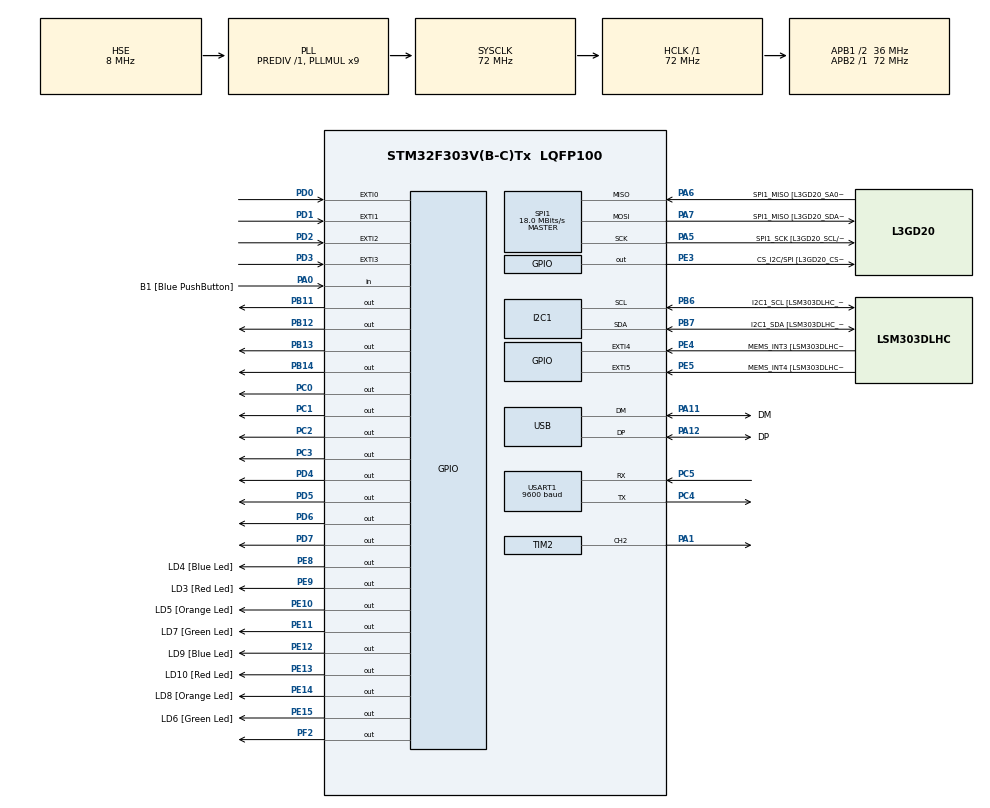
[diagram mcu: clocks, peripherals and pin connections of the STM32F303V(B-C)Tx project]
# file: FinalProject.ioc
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I2C1.Timing-I2C=0x2000090E
Mcu.Family=STM32F3
Mcu.Name=STM32F303V(B-C)Tx
Mcu.Package=LQFP100
NVIC.EXTI0_IRQn=true\:2\:0\:true\:false\:true\:true\:true\:true
NVIC.EXTI1_IRQn=true\:2\:0\:true\:false\:true\:true\:true\:true
NVIC.EXTI2_TSC_IRQn=true\:2\:0\:true\:false\:true\:true\:true\:true
NVIC.EXTI3_IRQn=true\:2\:0\:true\:false\:true\:true\:true\:true
NVIC.PriorityGroup=NVIC_PRIORITYGROUP_2
NVIC.TIM6_DAC_IRQn=true\:0\:0\:true\:false\:true\:true\:true\:true
NVIC.TIM7_IRQn=true\:0\:0\:false\:false\:true\:true\:true\:true
NVIC.USART1_IRQn=true\:0\:0\:false\:false\:true\:true\:true\:true
PA0.GPIO_Label=B1 [Blue PushButton]
PA0.Signal=GPIO_Input
PA1.Signal=S_TIM2_CH2
PA11.GPIO_Label=DM
PA11.Mode=Device
PA11.Signal=USB_DM
PA12.GPIO_Label=DP
PA12.Mode=Device
PA12.Signal=USB_DP
PA13.GPIO_Label=SWDIO
PA13.Mode=Serial_Wire
PA13.Signal=SYS_JTMS-SWDIO
PA14.GPIO_Label=SWCLK
PA14.Mode=Serial_Wire
PA14.Signal=SYS_JTCK-SWCLK
PA5.GPIO_Label=SPI1_SCK [L3GD20_SCL/SPC]
PA5.Mode=Full_Duplex_Master
PA5.Signal=SPI1_SCK
PA6.GPIO_Label=SPI1_MISO [L3GD20_SA0/SDO]
PA6.Mode=Full_Duplex_Master
PA6.Signal=SPI1_MISO
PA7.GPIO_Label=SPI1_MISO [L3GD20_SDA/SDI/SDO]
PA7.Mode=Full_Duplex_Master
PA7.Signal=SPI1_MOSI
PB11.Signal=GPIO_Output
PB12.Signal=GPIO_Output
PB13.Signal=GPIO_Output
PB14.Signal=GPIO_Output
PB3.GPIO_Label=SWO
PB3.Signal=SYS_JTDO-TRACESWO
PB6.GPIO_Label=I2C1_SCL [LSM303DLHC_SCL]
PB6.GPIO_Pu=GPIO_PULLUP
PB6.Mode=I2C
PB6.Signal=I2C1_SCL
PB7.GPIO_Label=I2C1_SDA [LSM303DLHC_SDA]
PB7.GPIO_Pu=GPIO_PULLUP
PB7.Mode=I2C
PB7.Signal=I2C1_SDA
PC0.Signal=GPIO_Output
PC1.Signal=GPIO_Output
PC14-OSC32_IN.GPIO_Label=OSC32_IN
PC14-OSC32_IN.Signal=RCC_OSC32_IN
PC15-OSC32_OUT.GPIO_Label=OSC32_OUT
PC15-OSC32_OUT.Signal=RCC_OSC32_OUT
PC2.Signal=GPIO_Output
PC3.Signal=GPIO_Output
PC4.Mode=Asynchronous
PC4.Signal=USART1_TX
PC5.Mode=Asynchronous
PC5.Signal=USART1_RX
PD0.GPIO_PuPd=GPIO_PULLDOWN
PD0.Signal=GPXTI0
PD1.GPIO_PuPd=GPIO_PULLDOWN
PD1.Signal=GPXTI1
PD2.GPIO_PuPd=GPIO_PULLDOWN
PD2.Signal=GPXTI2
PD3.GPIO_PuPd=GPIO_PULLDOWN
PD3.Signal=GPXTI3
PD4.Signal=GPIO_Output
PD5.Signal=GPIO_Output
PD6.Signal=GPIO_Output
PD7.Signal=GPIO_Output
PE10.GPIO_Label=LD5 [Orange Led]
PE10.Signal=GPIO_Output
PE11.GPIO_Label=LD7 [Green Led]
PE11.Signal=GPIO_Output
PE12.GPIO_Label=LD9 [Blue Led]
PE12.Signal=GPIO_Output
PE13.GPIO_Label=LD10 [Red Led]
PE13.Signal=GPIO_Output
PE14.GPIO_Label=LD8 [Orange Led]
PE14.Signal=GPIO_Output
PE15.GPIO_Label=LD6 [Green Led]
PE15.Signal=GPIO_Output
PE3.GPIO_Label=CS_I2C/SPI [L3GD20_CS_I2C/SPI]
PE3.Signal=GPIO_Output
PE4.GPIO_Label=MEMS_INT3 [LSM303DLHC_INT1]
PE4.GPIO_ModeDefaultEXTI=GPIO_MODE_EVT_RISING
PE4.Signal=GPXTI4
PE5.GPIO_Label=MEMS_INT4 [LSM303DLHC_INT2]
PE5.GPIO_ModeDefaultEXTI=GPIO_MODE_EVT_RISING
PE5.Signal=GPXTI5
PE8.GPIO_Label=LD4 [Blue Led]
PE8.Signal=GPIO_Output
PE9.GPIO_Label=LD3 [Red Led]
PE9.Signal=GPIO_Output
PF0-OSC_IN.GPIO_Label=OSC_IN
PF0-OSC_IN.Mode=HSE-External-Clock-Source
PF0-OSC_IN.Signal=RCC_OSC_IN
PF1-OSC_OUT.GPIO_Label=OSC_OUT
PF1-OSC_OUT.Signal=RCC_OSC_OUT
PF2.Signal=GPIO_Output
ProjectManager.HeapSize=0x200
ProjectManager.StackSize=0x400
ProjectManager.TargetToolchain=STM32CubeIDE
RCC.AHBFreq_Value=72000000
RCC.APB1CLKDivider=RCC_HCLK_DIV2
RCC.APB1Freq_Value=36000000
RCC.APB1TimFreq_Value=72000000
RCC.APB2Freq_Value=72000000
RCC.APB2TimFreq_Value=72000000
RCC.CortexFreq_Value=72000000
RCC.HCLKFreq_Value=72000000
RCC.HSE_VALUE=8000000
RCC.HSI_VALUE=8000000
RCC.LSE_VALUE=32768
RCC.PLLMUL=RCC_PLL_MUL9
RCC.PRESCALERUSB=RCC_USBCLKSOURCE_PLL_DIV1_5
RCC.SYSCLKFreq_VALUE=72000000
RCC.SYSCLKSourceVirtual=RCC_SYSCLKSOURCE_PLLCLK
RCC.USBFreq_Value=48000000
SH.S_TIM2_CH2.0=TIM2_CH2,PWM Generation2 CH2
SPI1.BaudRatePrescaler=SPI_BAUDRATEPRESCALER_4
SPI1.BaudRatePrescaler-Full_Duplex_Master=SPI_BAUDRATEPRESCALER_2
SPI1.CalculateBaudRate=18.0 MBits/s
SPI1.CalculateBaudRate-Full_Duplex_Master=24.0 MBits/s
SPI1.Direction=SPI_DIRECTION_2LINES
SPI1.Mode=SPI_MODE_MASTER
SPI1.Mode-Full_Duplex_Master=SPI_MODE_MASTER
SPI1.VirtualType=VM_MASTER
TIM2.Channel-PWM\ Generation2\ CH2=TIM_CHANNEL_2
TIM6.Period=5000-1
TIM6.Prescaler=48-1
TIM7.Period=10000-1
TIM7.Prescaler=72-1
USART1.BaudRate=9600
USART1.VirtualMode-Asynchronous=VM_ASYNC
VP_RTC_VS_RTC_Activate.Mode=RTC_Enabled
VP_TIM2_VS_ClockSourceINT.Mode=Internal
VP_TIM6_VS_ClockSourceINT.Mode=Enable_Timer
VP_TIM7_VS_ClockSourceINT.Mode=Enable_Timer
board=STM32F3DISCOVERY

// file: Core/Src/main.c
/* USER CODE BEGIN Header */
/**
  ******************************************************************************
  * @file           : main.c
  * @brief          : Main program body
  ******************************************************************************
  * @attention
  *
  * Copyright (c) 2024 STMicroelectronics.
  * All rights reserved.
  *
  * This software is licensed under terms that can be found in the LICENSE file
  * in the root directory of this software component.
  * If no LICENSE file comes with this software, it is provided AS-IS.
  *
  ******************************************************************************
  */
/* USER CODE END Header */
#include "main.h"

/* USER CODE BEGIN Includes */
#include "LiquidCrystal.h"
#include <string.h>
#include <ctype.h>
#include <stdlib.h>
/* USER CODE END Includes */

/* USER CODE BEGIN PTD */
typedef struct
{
    uint16_t frequency;
    uint16_t duration;
} Tone;

#define NOTE_B0  31
#define NOTE_C1  33
#define NOTE_CS1 35
#define NOTE_D1  37
#define NOTE_DS1 39
#define NOTE_E1  41
#define NOTE_F1  44
#define NOTE_FS1 46
#define NOTE_G1  49
#define NOTE_GS1 52
#define NOTE_A1  55
#define NOTE_AS1 58
#define NOTE_B1  62
#define NOTE_C2  65
#define NOTE_CS2 69
#define NOTE_D2  73
#define NOTE_DS2 78
#define NOTE_E2  82
#define NOTE_F2  87
#define NOTE_FS2 93
#define NOTE_G2  98
#define NOTE_GS2 104
#define NOTE_A2  110
#define NOTE_AS2 117
#define NOTE_B2  123
#define NOTE_C3  131
#define NOTE_CS3 139
#define NOTE_D3  147
#define NOTE_DS3 156
#define NOTE_E3  165
#define NOTE_F3  175
#define NOTE_FS3 185
#define NOTE_G3  196
#define NOTE_GS3 208
#define NOTE_A3  220
#define NOTE_AS3 233
#define NOTE_B3  247
#define NOTE_C4  262
#define NOTE_CS4 277
#define NOTE_D4  294
#define NOTE_DS4 311
#define NOTE_E4  330
#define NOTE_F4  349
#define NOTE_FS4 370
#define NOTE_G4  392
#define NOTE_GS4 415
#define NOTE_A4  440
#define NOTE_AS4 466
#define NOTE_B4  494
#define NOTE_C5  523
#define NOTE_CS5 554
#define NOTE_D5  587
#define NOTE_DS5 622
#define NOTE_E5  659
#define NOTE_F5  698
#define NOTE_FS5 740
#define NOTE_G5  784
#define NOTE_GS5 831
#define NOTE_A5  880
#define NOTE_AS5 932
#define NOTE_B5  988
#define NOTE_C6  1047
#define NOTE_CS6 1109
#define NOTE_D6  1175
#define NOTE_DS6 1245
#define NOTE_E6  1319
#define NOTE_F6  1397
#define NOTE_FS6 1480
#define NOTE_G6  1568
#define NOTE_GS6 1661
#define NOTE_A6  1760
#define NOTE_AS6 1865
#define NOTE_B6  1976
#define NOTE_C7  2093
#define NOTE_CS7 2217
#define NOTE_D7  2349
#define NOTE_DS7 2489
#define NOTE_E7  2637
#define NOTE_F7  2794
#define NOTE_FS7 2960
#define NOTE_G7  3136
#define NOTE_GS7 3322
#define NOTE_A7  3520
#define NOTE_AS7 3729
#define NOTE_B7  3951
#define NOTE_C8  4186
#define NOTE_CS8 4435
#define NOTE_D8  4699
#define NOTE_DS8 4978
#define REST      0

const Tone pink_panther[] = {
	{REST, 900}, {REST, 450}, {REST, 225}, {NOTE_DS4, 225},
	{NOTE_E4, 675}, {REST, 225}, {NOTE_FS4, 225}, {NOTE_G4, 675},
	{REST, 225}, {NOTE_DS4, 225}, {NOTE_E4, 337}, {NOTE_FS4, 225},
	{NOTE_G4, 337}, {NOTE_C5, 225}, {NOTE_B4, 337}, {NOTE_B4, 225},
	{NOTE_G4, 337}, {NOTE_B4, 225}, {NOTE_AS4, 900}, {NOTE_A4, 168},
	{NOTE_G4, 168}, {NOTE_E4, 168}, {NOTE_D4, 168}, {NOTE_E4, 900},
	{REST, 450}, {REST, 225}, {NOTE_DS4, 450}, {NOTE_E4, 675},
	{REST, 225}, {NOTE_FS4, 225}, {NOTE_G4, 675}, {REST, 225},
	{NOTE_DS4, 225}, {NOTE_E4, 337}, {NOTE_FS4, 225}, {NOTE_G4, 337},
	{NOTE_C5, 225}, {NOTE_B4, 337}, {NOTE_G4, 225}, {NOTE_B4, 337},
	{NOTE_E5, 225}, {NOTE_DS5, 1800}, {NOTE_D5, 900}, {REST, 450},
	{REST, 225}, {NOTE_DS4, 225}, {NOTE_E4, 750}, {REST, 225},
	{NOTE_FS4, 225}, {NOTE_G4, 750}, {REST, 225}, {NOTE_DS4, 225},
	{NOTE_E4, 337}, {NOTE_FS4, 225}, {NOTE_G4, 337}, {NOTE_C5, 225},
	{NOTE_B4, 337}, {NOTE_E4, 225}, {NOTE_G4, 337}, {NOTE_B4, 225},
	{NOTE_AS4, 900}, {NOTE_A4, 168}, {NOTE_G4, 168}, {NOTE_E4, 168},
	{NOTE_D4, 168}, {NOTE_E4, 675}, {REST, 450}, {REST, 450},
	{NOTE_E5, 337}, {NOTE_D5, 225}, {NOTE_B4, 337}, {NOTE_A4, 225},
	{NOTE_G4, 337}, {NOTE_E4, 337}, {NOTE_AS4, 112}, {NOTE_A4, 337},
	{NOTE_AS4, 112}, {NOTE_A4, 337}, {NOTE_AS4, 112}, {NOTE_A4, 337},
	{NOTE_AS4, 112}, {NOTE_A4, 337}, {NOTE_G4, 168}, {NOTE_E4, 168},
	{NOTE_D4, 168}, {NOTE_E4, 112}, {NOTE_E4, 112}, {NOTE_E4, 900},
	{0, 1000},{0,0}
};
typedef unsigned char byte;
byte snake_right[] = {
  0x00,
  0x00,
  0x1F,
  0x1D,
  0x1F,
  0x1F,
  0x00,
  0x00
};

byte snake_left[] = {
  0x00,
  0x00,
  0x1F,
  0x17,
  0x1F,
  0x1F,
  0x00,
  0x00
};

byte snake_top[] = {
  0x00,
  0x00,
  0x1F,
  0x1B,
  0x1F,
  0x1F,
  0x00,
  0x00
};

byte snake_down[] = {
  0x00,
  0x00,
  0x1F,
  0x1F,
  0x1B,
  0x1F,
  0x00,
  0x00
};

byte snake_body[] = {
  0x00,
  0x00,
  0x1F,
  0x1F,
  0x1F,
  0x1F,
  0x00,
  0x00
};
byte apple[] = {
  0x03,
  0x04,
  0x1F,
  0x1F,
  0x1F,
  0x1F,
  0x00,
  0x00
};
byte med[] = {
  0x1F,
  0x15,
  0x15,
  0x1F,
  0x1F,
  0x15,
  0x15,
  0x1F
};
byte box[] = {
  0x10,
  0x1A,
  0x0C,
  0x1F,
  0x1B,
  0x11,
  0x1B,
  0x1F
};

/* USER CODE END PTD */

I2C_HandleTypeDef hi2c1;

RTC_HandleTypeDef hrtc;

SPI_HandleTypeDef hspi1;

TIM_HandleTypeDef htim2;
TIM_HandleTypeDef htim6;
TIM_HandleTypeDef htim7;

UART_HandleTypeDef huart1;

PCD_HandleTypeDef hpcd_USB_FS;

void SystemClock_Config(void);
static void MX_GPIO_Init(void);
static void MX_I2C1_Init(void);
static void MX_SPI1_Init(void);
static void MX_USB_PCD_Init(void);
static void MX_TIM6_Init(void);
static void MX_RTC_Init(void);
static void MX_TIM7_Init(void);
static void MX_TIM2_Init(void);
static void MX_USART1_UART_Init(void);

/* USER CODE BEGIN 0 */
GPIO_TypeDef *const Row_ports[] = { GPIOD, GPIOD, GPIOD, GPIOD };
const uint16_t Row_pins[] = { GPIO_PIN_3, GPIO_PIN_2, GPIO_PIN_1, GPIO_PIN_0 };
GPIO_TypeDef *const Column_ports[] = { GPIOD, GPIOD, GPIOD, GPIOD };
const uint16_t Column_pins[] =
    { GPIO_PIN_4, GPIO_PIN_5, GPIO_PIN_6, GPIO_PIN_7 };
volatile uint32_t last_gpio_exti;

int temp_digit = 0;
int digit[4];

int program_mode = 0;
int counter = 0;
int first_time_change = 0;
int last_rtc_entertime = 0;
char name[10];
int snake_default_speed = 1;
int default_health = 5;
int obstacle_count = 3;
int sound_effect = 1;
int game_mode = 1;

int map [4][20];
int snake_path [79][2];
int snake_length = 4;
int direction = 1;
int last_enter_game;
int health;
int speed;
int score = 0;
int time_spent = 0;
int last_enter_timer = 0;
int apple_exist = 1;
int apple_exist_timer;
int medical_exist = 1;
int medical_exist_timer;
int box_exist = 1;
int box_exist_timer;
int flag_voice_apple , flag_voice_health , flag_voice_box;
int last_speed_change;

TIM_HandleTypeDef *pwm_timer  = &htim2;
uint32_t pwm_channel = TIM_CHANNEL_2;
const Tone *volatile melody_ptr;
volatile uint16_t melody_tone_count;
volatile uint16_t current_tone_number;
volatile uint32_t current_tone_end;

uint8_t data[100];
uint8_t d;
uint8_t ii = 0;

void remove_spaces(const char* input, char* output) {
    int non_space_count = 0;
    for (int i = 0; input[i] != '\0'; ++i) {
        if (!isspace(input[i])) {
            output[non_space_count++] = input[i];
        }
    }
    output[non_space_count] = '\0';
}

void HAL_UART_RxCpltCallback(UART_HandleTypeDef *huart) {
	if (huart->Instance == USART1) {
		HAL_UART_Receive_IT(&huart1, &d, 1);
		data[ii++] = d;
		if (d == '\n') {
			data[ii] = '\0';
            char set_name_command[] = "name=";
            char speed_command[] = "speed=";// 1-3
            char health_command[] = "health="; // 1-9
            char obstacle_command[] = "obstacles="; // up to 6
            char music_command[] = "music="; //0-1
            char game_mode_command[] = "game_mode="; //1-3

            if (strncmp(data,game_mode_command,10) == 0 && ii == 12 && data[10] <= '3' && data[10] >= '1'){
            	game_mode = (data[10] - '0');
            	char response[] = "GAME MODE CHANGED SUCCESSFULLY !\n";
				HAL_UART_Transmit(&huart1, response, strlen(response), HAL_MAX_DELAY);
            }
            else if (strncmp(data,music_command,6) == 0 && ii == 8 && data[6] >= '0' && data[6] <= '1'){
            	sound_effect = (data[6] - '0');
            	char response[] = "MUSIC EFFECT CHANGED SUCCESSFULLY !\n";
				HAL_UART_Transmit(&huart1, response, strlen(response), HAL_MAX_DELAY);
            }
            else if (strncmp (data,obstacle_command,10) == 0 && ii == 12 && data[10] >= '1' && data[10] <= '6'){
            	obstacle_count = (data[10] - '0');
            	char response[] = "OBSTACLE COUNT CHANGED SUCCESSFULLY !\n";
				HAL_UART_Transmit(&huart1, response, strlen(response), HAL_MAX_DELAY);
            }
            else if (strncmp(data,health_command,7) == 0 && ii == 9 && data[7] >= '1' && data[7] <= '9'){
            	default_health = (data[7] - '0');
            	char response[] = "DEFAULT HEALTH CHANGED SUCCESSFULLY !\n";
				HAL_UART_Transmit(&huart1, response, strlen(response), HAL_MAX_DELAY);
            }
            else if (strncmp(data,set_name_command,5) == 0 && ii <= 14){
                strncpy(name, data + 5, sizeof(name) - 1);
                // name[sizeof(name) - 1] = '\0';  // Ensure null-termination
                char response[] = "NAME SET SUCCESSFULLY !\n";
                HAL_UART_Transmit(&huart1, response, strlen(response), HAL_MAX_DELAY);
            }
            else if (strncmp(data,speed_command,6) == 0 && ii == 8 && data[6] >= '1' && data[6] <= '3'){
            	snake_default_speed = (data[6] - '0');
            	char response[] = "Default Speed CHANGED SUCCESSFULLY !\n";
				HAL_UART_Transmit(&huart1, response, strlen(response), HAL_MAX_DELAY);
            }
            else{
            	char response[] = "[ERROR][UNKNOWN-COMMAND]\n";
            	HAL_UART_Transmit(&huart1, response, strlen(response), HAL_MAX_DELAY);
            }
			ii = 0;
		}
	}
}

void PWM_Start(){
	HAL_TIM_PWM_Start(pwm_timer,pwm_channel);
}

void PWM_Change_Tone(uint16_t pwm_freq,uint16_t volume){
	if (pwm_freq == 0 || pwm_freq > 20000){
		__HAL_TIM_SET_COMPARE(pwm_timer,pwm_channel,0);
	}
	else{
		const uint32_t internal_clock_freq = HAL_RCC_GetSysClockFreq();
		const uint16_t prescaler = 1 + internal_clock_freq / pwm_freq / 60000;
		const uint32_t timer_clock = internal_clock_freq / prescaler;
		const uint32_t period_cycles = timer_clock / pwm_freq;
		const uint32_t pulse_width = volume * period_cycles / 1000 / 2;

		pwm_timer->Instance->PSC = prescaler - 1;
		pwm_timer->Instance->ARR = period_cycles - 1;
		pwm_timer->Instance->EGR = TIM_EGR_UG;
		__HAL_TIM_SET_COMPARE(pwm_timer,pwm_channel,pulse_width);
	}
}
void Play_Music (){
	Change_Melody(pink_panther,  sizeof(pink_panther) / sizeof(pink_panther[0]));
}
void Change_Melody(const Tone *melody,uint32_t tone_count){
	melody_ptr = melody;
	melody_tone_count = tone_count;
	current_tone_number = 0;
}
void Update_Melody(){
	if ((HAL_GetTick() > current_tone_end) && (current_tone_number < melody_tone_count)){
		const Tone active_tone = *(melody_ptr + current_tone_number);
		PWM_Change_Tone(active_tone.frequency, 20);
		current_tone_end = HAL_GetTick() + active_tone.duration;
		current_tone_number++;
	}
	else if (current_tone_number >= melody_tone_count && melody_tone_count != 0){
		Play_Music();
	}
}
void HAL_GPIO_EXTI_Callback(uint16_t GPIO_Pin){
  if (last_gpio_exti + 200 > HAL_GetTick()) // Simple button debouncing
  {
    return;
  }
  last_gpio_exti = HAL_GetTick();

  int8_t row_number = -1;
  int8_t column_number = -1;

  if (GPIO_Pin == GPIO_PIN_0)
  {
    // blue_button_pressed = 1;
    // return;
  }

  for (uint8_t row = 0; row < 4; row++) // Loop through Rows
  {
    if (GPIO_Pin == Row_pins[row])
    {
      row_number = row;
    }
  }

  HAL_GPIO_WritePin(Column_ports[0], Column_pins[0], 0);
  HAL_GPIO_WritePin(Column_ports[1], Column_pins[1], 0);
  HAL_GPIO_WritePin(Column_ports[2], Column_pins[2], 0);
  HAL_GPIO_WritePin(Column_ports[3], Column_pins[3], 0);

  for (uint8_t col = 0; col < 4; col++) // Loop through Columns
  {
    HAL_GPIO_WritePin(Column_ports[col], Column_pins[col], 1);
    if (HAL_GPIO_ReadPin(Row_ports[row_number], Row_pins[row_number]))
    {
      column_number = col;
    }
    HAL_GPIO_WritePin(Column_ports[col], Column_pins[col], 0);
  }

  HAL_GPIO_WritePin(Column_ports[0], Column_pins[0], 1);
  HAL_GPIO_WritePin(Column_ports[1], Column_pins[1], 1);
  HAL_GPIO_WritePin(Column_ports[2], Column_pins[2], 1);
  HAL_GPIO_WritePin(Column_ports[3], Column_pins[3], 1);

  if (row_number == -1 || column_number == -1)
  {
    return; // Reject invalid scan
  }
  //   C0   C1   C2   C3
  // +----+----+----+----+
  // | 1  | 2  | 3  | 4  |  R0
  // +----+----+----+----+
  // | 5  | 6  | 7  | 8  |  R1
  // +----+----+----+----+
  // | 9  | 10 | 11 | 12 |  R2
  // +----+----+----+----+
  // | 13 | 14 | 15 | 16 |  R3
  // +----+----+----+----+
  const uint8_t button_number = row_number * 4 + column_number + 1;
  switch (button_number)
  {
  case 1:
    if (program_mode == 0){
    	counter = 0;
    	first_time_change = 1;
    	program_mode = 1;
    }
    break;
  case 2:
	if (program_mode == 0){
    	counter = 0;
    	first_time_change = 1;
		program_mode = 1;
	}
	if (program_mode == 4){
		if (counter == 0){
			default_health++;
			if(default_health == 10){
				default_health = 1;
			}
		}
		if (counter == 1){
			snake_default_speed++;
			if (snake_default_speed == 4){
				snake_default_speed = 1;
			}
		}
		if (counter == 2){
			obstacle_count++;
			if (obstacle_count > 6){
				obstacle_count = 1;
			}
		}
		if (counter == 3){
			sound_effect = 1 ;
		}
	}
	if (program_mode == 5){
		if (direction ==1 || direction == 3){
			direction = 4;
		}
	}
    break;
  case 3:
	if (program_mode == 0){
    	counter = 0;
    	first_time_change = 1;
		program_mode = 1;
	}
	else if (program_mode == 1){
		counter--;
		if (counter == -1){
			counter = 3;
		}
	}
	else if (program_mode == 3){
		game_mode--;
		if (game_mode == 0){
			game_mode = 3;
		}
	}
	else if (program_mode == 4){
		counter--;
		if (counter == -1){
			counter = 3;
		}
	}
    break;
  case 4:
	if (program_mode == 0){
    	counter = 0;
    	first_time_change = 1;
		program_mode = 1;
	}
    break;
  case 5:
	if (program_mode == 0){
    	counter = 0;
    	first_time_change = 1;
		program_mode = 1;
	}
	if (program_mode == 5){
		if (direction == 2 || direction == 4){
			direction = 3;
		}
	}
    break;
  case 6:
	if (program_mode == 0){
    	counter = 0;
    	first_time_change = 1;
		program_mode = 1;
	}
	if (program_mode == 4){
		if (counter == 0){
			default_health--;
			if (default_health == 0){
				default_health = 9;
			}
		}
		if (counter == 1){
			snake_default_speed--;
			if (snake_default_speed == 0){
				snake_default_speed = 3;
			}
		}
		if (counter == 2){
			obstacle_count--;
			if (obstacle_count < 1){
				obstacle_count = 6;
			}
		}
		if (counter == 3){
			sound_effect = 0 ;
		}
	}
    break;
  case 7:
	if (program_mode == 0){
    	counter = 0;
    	first_time_change = 1;
		program_mode = 1;
	}
	else if (program_mode == 1){
		counter++;
		if (counter == 4){
			counter = 0;
		}
	}
	else if (program_mode == 3){
		game_mode++;
		if (game_mode == 4){
			game_mode = 1;
		}
	}
	else if (program_mode == 4){
		counter++;
		if (counter == 4){
			counter = 0;
		}
	}
	else if (program_mode == 5){
		if (direction == 2 || direction == 4){
			direction = 1;
		}
	}
    break;
  case 8:
	if (program_mode == 0){
    	counter = 0;
    	first_time_change = 1;
		program_mode = 1;
	}
    break;
  case 9:
	if (program_mode == 0){
    	counter = 0;
    	first_time_change = 1;
		program_mode = 1;
	}
    break;
  case 10:
	if (program_mode == 0){
    	counter = 0;
    	first_time_change = 1;
		program_mode = 1;
	}
	if (program_mode == 5){
		if (direction == 1 || direction == 3){
			direction = 2;
		}
	}
    break;
  case 11:
	if (program_mode == 0){
    	counter = 0;
    	first_time_change = 1;
		program_mode = 1;
	}
	else if (program_mode == 1){
		if (counter == 3){
			program_mode = 2;
			first_time_change = 1;
			counter = 0;
		}
		else if (counter == 2){
			program_mode = 3;
			first_time_change = 1;
			counter = 0 ;
		}
		else if (counter == 1){
			program_mode = 4;
			first_time_change = 1;
			counter = 0;
		}
		else if (counter == 0){
			program_mode = 5;
			first_time_change = 1;
		}
	}
    break;
  case 12:
	if (program_mode == 0){
    	counter = 0;
    	first_time_change = 1;
		program_mode = 1;
	}
    break;
  case 13:
	if (program_mode == 0){
    	counter = 0;
    	first_time_change = 1;
		program_mode = 1;
	}
    break;
  case 14:
	if (program_mode == 0){
    	counter = 0;
    	first_time_change = 1;
		program_mode = 1;
	}
    break;
  case 15:
	if (program_mode == 0){
    	counter = 0;
    	first_time_change = 1;
		program_mode = 1;
	}
	if (program_mode == 2){
		program_mode = 1;
		first_time_change = 1;
		counter = 0;
	}
	if (program_mode == 3){
		program_mode = 1;
		first_time_change = 1;
		counter = 0;
	}
	if (program_mode == 4){
		program_mode = 1;
		first_time_change = 1;
		counter = 0;
	}
    break;
  case 16:
	if (program_mode == 0){
    	counter = 0;
    	first_time_change = 1;
		program_mode = 1;
	}
    break;

  default:
    break;
  }
}

void HAL_TIM_PeriodElapsedCallback(TIM_HandleTypeDef *htim){

	if (htim->Instance == TIM6){
		if (program_mode == 5 && game_mode == 3 && HAL_GetTick() - last_speed_change >= 15000){
			last_speed_change = HAL_GetTick();
			speed += 0.2;
		}
		if (program_mode == 5 && health == 0){
			program_mode = 6;
			first_time_change = 1;
		}
		if (HAL_GetTick() - last_enter_timer >= 60000 && program_mode == 5){
			time_spent++;
			last_enter_timer = HAL_GetTick();
		}
		tokenize();
		active_digits();
	}

	if (htim->Instance == TIM7){
		if (program_mode == 5){
			if (apple_exist == 0){
				apple_exist_timer = HAL_GetTick();
				apple_exist = 2;
				if (sound_effect){
					PWM_Change_Tone(500, 20);
					flag_voice_apple = 1;
				}
			}
			if (apple_exist == 2){
				if (HAL_GetTick() - apple_exist_timer >= 15000){
					apple_exist = 3;
				}
				else if (HAL_GetTick() - apple_exist_timer >= 800 && flag_voice_apple){
					PWM_Change_Tone(0, 0);
					flag_voice_apple = 0;
				}
			}
			if (medical_exist == 0){
				medical_exist_timer = HAL_GetTick();
				medical_exist = 2;
				if (sound_effect){
					PWM_Change_Tone(1000, 20);
					flag_voice_health = 1;
				}

			}
			if (medical_exist == 2){
				if (HAL_GetTick() - medical_exist_timer >= 15000){
					medical_exist = 3;
				}
				else if (HAL_GetTick() - medical_exist_timer >= 800 && flag_voice_health){
					PWM_Change_Tone(0, 0);
					flag_voice_health = 0;
				}
			}
			if (box_exist == 0){
				box_exist_timer = HAL_GetTick();
				box_exist = 2;
				if (sound_effect){
					PWM_Change_Tone(1500, 20);
					flag_voice_box = 1;
				}
			}
			if (box_exist == 2){
				if (HAL_GetTick() - box_exist_timer >= 15000){
					box_exist = 3;
				}
				else if (HAL_GetTick() - box_exist_timer >= 800 && flag_voice_box){
					PWM_Change_Tone(0, 0);
					flag_voice_box = 0;
				}
			}
		}
		else if (program_mode == 0){
			Update_Melody();
		}
		else {
			PWM_Change_Tone(0, 0);
		}
	}
}

void tokenize(){
	if (program_mode == 6){ // endgame
		digit[0] = 0;
		digit[1] = 0;
		digit[2] = 0;
		digit[3] = 0;
	}
	digit[0] = score/10;
	digit[1] = score%10;
	digit[2] = time_spent/10;
	digit[3] = time_spent%10;
}
void shownumber (int x){
	HAL_GPIO_WritePin(GPIOB, GPIO_PIN_11, x%2);
	x/=2;
	HAL_GPIO_WritePin(GPIOB, GPIO_PIN_12, x%2);
	x/=2;
	HAL_GPIO_WritePin(GPIOB, GPIO_PIN_13, x%2);
	x/=2;
	HAL_GPIO_WritePin(GPIOB, GPIO_PIN_14, x%2);
}
void active_digits (){
	if (temp_digit == 0){
		HAL_GPIO_WritePin(GPIOC, GPIO_PIN_0, 1);
		HAL_GPIO_WritePin(GPIOC, GPIO_PIN_1, 0);
		HAL_GPIO_WritePin(GPIOC, GPIO_PIN_2, 0);
		HAL_GPIO_WritePin(GPIOC, GPIO_PIN_3, 0);
		HAL_GPIO_WritePin(GPIOF, GPIO_PIN_2, 1);
		shownumber(digit[0]);
		temp_digit = 1;
	}
	else if (temp_digit == 1){
		HAL_GPIO_WritePin(GPIOC, GPIO_PIN_0, 0);
		HAL_GPIO_WritePin(GPIOC, GPIO_PIN_1, 1);
		HAL_GPIO_WritePin(GPIOC, GPIO_PIN_2, 0);
		HAL_GPIO_WritePin(GPIOC, GPIO_PIN_3, 0);
		HAL_GPIO_WritePin(GPIOF, GPIO_PIN_2, 0);
		shownumber(digit[1]);
		temp_digit = 2;
	}
	else if (temp_digit == 2){
		HAL_GPIO_WritePin(GPIOC, GPIO_PIN_0, 0);
		HAL_GPIO_WritePin(GPIOC, GPIO_PIN_1, 0);
		HAL_GPIO_WritePin(GPIOC, GPIO_PIN_2, 1);
		HAL_GPIO_WritePin(GPIOC, GPIO_PIN_3, 0);
		HAL_GPIO_WritePin(GPIOF, GPIO_PIN_2, 1);
		shownumber(digit[2]);
		temp_digit = 3;
	}
	else if (temp_digit == 3){
		HAL_GPIO_WritePin(GPIOC, GPIO_PIN_0, 0);
		HAL_GPIO_WritePin(GPIOC, GPIO_PIN_1, 0);
		HAL_GPIO_WritePin(GPIOC, GPIO_PIN_2, 0);
		HAL_GPIO_WritePin(GPIOC, GPIO_PIN_3, 1);
		HAL_GPIO_WritePin(GPIOF, GPIO_PIN_2, 1);
		shownumber(digit[3]);
		temp_digit = 0;
	}
}

void init_snake(){
	snake_path[0][0] = 0;
	snake_path[0][1] = 0;
	snake_path[1][0] = 0;
	snake_path[1][1] = 1;
	snake_path[2][0] = 0;
	snake_path[2][1] = 2;
	snake_path[3][0] = 0;
	snake_path[3][1] = 3;
	snake_length = 4;
	health = default_health;
	speed = snake_default_speed;
}
/*
 0 : empty
 1 : snake
 2 : snake_head
 3: apple
 4: health
 5: obstacle
 6: box
 7: number_health
*/
int create_random_number (int start,int end){
	srand(HAL_GetTick());
	return start + rand() % (end-start+1);
}
void init_map (){
	for (int i=0;i<snake_length-1;i++){
		map[snake_path[i][0]][snake_path[i][1]] = 1;
		setCursor(snake_path[i][1], snake_path[i][0]);
		write(4);
	}
	map[snake_path[snake_length-1][0]][snake_path[snake_length-1][1]] = 2;
	setCursor(snake_path[snake_length-1][1], snake_path[snake_length-1][0]);
	write(0);
	map[0][19] = 7; // show number_health
	int obs_current = 0;
	while (obs_current < obstacle_count){
		int x = create_random_number(0, 3);
		int y = create_random_number(0, 19);
		if (map[x][y] == 0){
			map[x][y] = 5;
			obs_current++;
			setCursor(y, x);
			print("I");
		}
	}
	int temp1=0,temp2=0,temp3=0;
	while (temp1 == 0){ // apple
		int x = create_random_number(0, 3);
		int y = create_random_number(0, 19);
		if (map[x][y] == 0){
			map[x][y] = 3;
			setCursor(y, x);
			write(5);
			temp1=1;
		}
	}
	while(temp2 == 0){ // med or health
		int x = create_random_number(0, 3);
		int y = create_random_number(0, 19);
		if (map[x][y] == 0){
			map[x][y] = 4;
			setCursor(y, x);
			write(6);
			temp2=1;
		}
	}
	while(temp3 == 0){ //box
		int x = create_random_number(0, 3);
		int y = create_random_number(0, 19);
		if (map[x][y] == 0){
			map[x][y] = 6;
			setCursor(y, x);
			write(7);
			temp3=1;
		}
	}
}

void change_head (int newhead_x, int newhead_y){
	int flag_increment = 0;
	if (map[newhead_x][newhead_y] == 1){ // body snake
		health--;
	}
	else if (map[newhead_x][newhead_y] == 3){ //apple
		flag_increment = 1;
		score++;
		apple_exist = 0;
	}
	else if (map[newhead_x][newhead_y] == 4){ // health
		if (health+1 > 9){
			health = 9;
		}
		else{
			health++;
		}
		medical_exist = 0;
	}
	else if (map[newhead_x][newhead_y] == 6){ // box
		int rnd_num = create_random_number(1, 3);
		box_exist = 0;
		if (rnd_num == 1){ // Score +2
			score+=2;
			if (score>99){
				score = 99;
			}
		}
		else if (rnd_num == 2){ // health + 2
			if (health + 2 > 9){
				health = 9;
			}
			else{
				health+=2;
			}
		}
		else if (rnd_num == 3){ // speed boost
			speed += 0.5;
		}
	}
	int oldhead_x = snake_path[snake_length-1][0];
	int oldhead_y = snake_path[snake_length-1][1];
	if (flag_increment == 0){
		map[snake_path[0][0]][snake_path[0][1]] = 0;
		setCursor(snake_path[0][1], snake_path[0][0]);
		print(" ");
		map[oldhead_x][oldhead_y] = 1;
		setCursor(oldhead_y, oldhead_x);
		write(4);
		map[newhead_x][newhead_y] = 2;
		setCursor(newhead_y, newhead_x);
		write(direction-1);
		for (int i=0;i<snake_length-1;i++){
			snake_path[i][0] = snake_path[i+1][0];
			snake_path[i][1] = snake_path[i+1][1];
		}
		snake_path[snake_length - 1][0] = newhead_x;
		snake_path[snake_length - 1][1] = newhead_y;
	}
	else if (flag_increment == 1){
		snake_length++;
		map[oldhead_x][oldhead_y] = 1;
		setCursor(oldhead_y, oldhead_x);
		write(4);
		map[newhead_x][newhead_y] = 2;
		setCursor(newhead_y, newhead_x);
		write(direction-1);
		snake_path[snake_length - 1][0] = newhead_x;
		snake_path[snake_length - 1][1] = newhead_y;
	}

}
void move_snake(){
	int old_head_x = snake_path[snake_length-1][0];
	int old_head_y = snake_path[snake_length-1][1];
	if (direction == 1){
		if (old_head_y == 18 && old_head_x == 0){
			if (game_mode == 1 || game_mode == 3){
				if (map[0][0] == 0){
					change_head(0,0);
				}
				else if (map[0][0] == 5){
					health--;
					change_head(1,0);
					direction = 2;
				}
			}
			else if (game_mode == 2){
				if (map[1][18] == 0){
					direction = 2;
					change_head(1, 18);
				}
				else if (map[1][18] == 5){
					direction = 3;
					change_head(1,17);
				}
			}
		}
		else if (old_head_y == 19 && old_head_x > 0 && old_head_x < 3){
			if (game_mode == 1 || game_mode == 3){
				change_head(old_head_x, 0);
			}
			else if (game_mode == 2){
				direction = 2;
				change_head(old_head_x+1, old_head_y);
			}
		}
		else if (old_head_y == 19 && old_head_x == 3){
			if (game_mode == 1 || game_mode == 3){
				change_head(old_head_x, 0);
			}
			else if (game_mode == 2){
				direction = 4;
				change_head(old_head_x-1, old_head_y);
			}
		}
		else{
			if (map[old_head_x][old_head_y + 1] == 5){
				direction = 2;
				health--;
				change_head(old_head_x+1, old_head_y);
			}
			else{
				change_head(old_head_x, old_head_y + 1);
			}

		}
	}

	else if (direction == 2){
		if (old_head_x == 3 && old_head_y > 0){
			if (game_mode == 2){
				direction = 3;
				change_head(old_head_x, old_head_y - 1);
			}
			else if (game_mode == 1 || game_mode == 3){
				change_head(0, old_head_y);
			}
		}
		else if (old_head_x == 3 && old_head_y == 0){
			if (game_mode == 2){
				direction = 1;
				change_head(old_head_x, 1);
			}
			else if (game_mode == 1 || game_mode == 3){
				change_head(0, old_head_y);
			}
		}
		else{
			if (map[old_head_x+1][old_head_y] == 5){
				direction = 3;
				health--;
				change_head(old_head_x , old_head_y - 1 );
			}
			else{
				change_head(old_head_x + 1, old_head_y);
			}

		}
	}
	else if (direction == 3){
		if (old_head_y == 0 && old_head_x > 0){
			if (game_mode == 2){
				direction = 4;
				change_head(old_head_x - 1, old_head_y);
			}
			else if (game_mode == 1 || game_mode == 3){
				change_head(19, old_head_x);
			}
		}
		else if (old_head_y == 0 && old_head_x == 0){
			if (game_mode == 1 || game_mode == 3){
				change_head(19, old_head_x);
			}
			else if (game_mode == 2){
				direction = 2;
				change_head(old_head_x + 1, old_head_y);
			}
		}
		else{
			if (map[old_head_x][old_head_y - 1] == 5){
				direction = 4;
				health--;
				change_head(old_head_x - 1, old_head_y );
			}
			else{
				change_head(old_head_x, old_head_y - 1);
			}

		}
	}
	else if (direction == 4){
		if (old_head_x == 0 && old_head_y >= 0 && old_head_y < 18){
			if (game_mode == 2){
				direction = 1;
				change_head(old_head_x, old_head_y + 1);
			}
			else if (game_mode == 1 || game_mode == 3){
				change_head(3, old_head_y);
			}
		}
		else if (old_head_x == 0 && old_head_y == 18){
			if (game_mode == 2){
				direction = 3;
				change_head(old_head_x, old_head_y - 1);
			}
			else if (game_mode == 1 || game_mode == 3){
				change_head(3, old_head_y);
			}
		}
		else if (old_head_x == 1 && old_head_y == 19){
			if (game_mode == 2){
				direction = 3;
				change_head(old_head_x, 18);
			}
			else if (game_mode == 1 || game_mode == 3){
				change_head(3, old_head_y);
			}
		}
		else{
			if (map[old_head_x - 1][old_head_y] == 5){
				direction = 1;
				health--;
				change_head(old_head_x, old_head_y + 1);
			}
			else{
				change_head(old_head_x - 1, old_head_y);
			}

		}
	}
}
/* USER CODE END 0 */

int main(void)
{

  /* MCU Configuration--------------------------------------------------------*/

  /* Reset of all peripherals, Initializes the Flash interface and the Systick. */
  HAL_Init();

  /* Configure the system clock */
  SystemClock_Config();

  /* Initialize all configured peripherals */
  MX_GPIO_Init();
  MX_I2C1_Init();
  MX_SPI1_Init();
  MX_USB_PCD_Init();
  MX_TIM6_Init();
  MX_RTC_Init();
  MX_TIM7_Init();
  MX_TIM2_Init();
  MX_USART1_UART_Init();
  /* USER CODE BEGIN 2 */
  HAL_TIM_Base_Start_IT(&htim6);
  HAL_TIM_Base_Start_IT(&htim7);
  PWM_Start();
  LiquidCrystal(GPIOD, GPIO_PIN_8, GPIO_PIN_9, GPIO_PIN_10, GPIO_PIN_11, GPIO_PIN_12, GPIO_PIN_13, GPIO_PIN_14);
  begin(20,4);
  createChar(0, snake_right);
  createChar(1, snake_down);
  createChar(2, snake_left);
  createChar(3, snake_top);
  createChar(4, snake_body);
  createChar(5, apple);
  createChar(6, med);
  createChar(7, box);
  HAL_GPIO_WritePin(Column_ports[0], Column_pins[0], 1);
  HAL_GPIO_WritePin(Column_ports[1], Column_pins[1], 1);
  HAL_GPIO_WritePin(Column_ports[2], Column_pins[2], 1);
  HAL_GPIO_WritePin(Column_ports[3], Column_pins[3], 1);
  RTC_TimeTypeDef mytime;
  mytime.Hours = 10;
  mytime.Minutes = 10;
  mytime.Seconds = 10;
  HAL_RTC_SetTime(&hrtc, &mytime, RTC_FORMAT_BIN);
  sprintf (name,"GUEST");
  HAL_UART_Receive_IT(&huart1, &d, 1);
  Play_Music();
  /* USER CODE END 2 */

  /* Infinite loop */
  while (1)
  {

    /* USER CODE BEGIN 3 */
		if (program_mode == 0){
			health = default_health;
			setCursor(4, 0);
			print ("SNAKE GAME !");
			setCursor(4, 2);
			write(4);
			setCursor(5, 2);
			write(4);
			setCursor(6, 2);
			write(4);
			setCursor(7, 2);
			write(4);
			setCursor(8, 2);
			write(0);
			setCursor(15, 2);
			write(5);
		}
		if (program_mode == 1){ // Menu
			if (first_time_change){
				clear();
				first_time_change = 0;
			}
			for (int i=0;i<4;i++){
				if (i==counter){
					setCursor(0, i);
					print(".");
				}
				else{
					setCursor(0, i);
					print(" ");
				}
			}
			setCursor(1, 0);
			print("Start Game");
			setCursor(1,1);
			print("Settings");
			setCursor(1,2);
			print("Select Mode");
			setCursor(1,3);
			print("About");
		}
		if (program_mode == 2){ // About
			if (first_time_change){
				clear();
				first_time_change = 0;
			}
			RTC_TimeTypeDef endtime;
			HAL_RTC_GetTime(&hrtc, &endtime, RTC_FORMAT_BIN);
			setCursor(7, 0);
			print("Faghih");
			setCursor(5, 1);
			print("& Sharifi");
			setCursor(7, 2);
			char strled[10];
			sprintf(strled,"%02d:%02d:%02d" , endtime.Hours,endtime.Minutes,endtime.Seconds);
			setCursor(7, 3);
			print(strled);

		}
		if (program_mode == 3){ // Game Mode
			if (first_time_change){
				clear();
				first_time_change = 0;
			}
			char strled[20];
			sprintf(strled,"Game Mode : Mode %d" , game_mode);
			setCursor(0, 1);
			print(strled);
		}
		if (program_mode == 4){ // Settings
			if (first_time_change){
				clear();
				first_time_change = 0;
			}
			char strled1[19];
			char strled2[19];
			char strled3[19];
			char strled4[19];
			sprintf(strled1, "Health:%d  Speed:%d" , default_health, snake_default_speed);
			sprintf(strled2, "Obstacle : %d" , obstacle_count);
			if (sound_effect == 1){
				sprintf(strled3 , "Sound : On ");
			}
			else{
				sprintf(strled3 , "Sound : Off");
			}
			sprintf(strled4,"Name : %s" ,name);
			setCursor(1, 0);
			print(strled1);
			setCursor(1, 1);
			print(strled2);
			setCursor(1, 2);
			print(strled3);
			setCursor(1, 3);
			print(strled4);
			if (counter == 0){
				setCursor(0, 0);
				print(".");
				setCursor(10, 0);
				print(" ");
				setCursor(0, 1);
				print(" ");
				setCursor(0, 2);
				print(" ");
			}
			if (counter == 1){
				setCursor(0, 0);
				print(" ");
				setCursor(10, 0);
				print(".");
				setCursor(0, 1);
				print(" ");
				setCursor(0, 2);
				print(" ");
			}
			if (counter == 2){
				setCursor(0, 0);
				print(" ");
				setCursor(10, 0);
				print(" ");
				setCursor(0, 1);
				print(".");
				setCursor(0, 2);
				print(" ");
			}
			if (counter == 3){
				setCursor(0, 0);
				print(" ");
				setCursor(10, 0);
				print(" ");
				setCursor(0, 1);
				print(" ");
				setCursor(0, 2);
				print(".");
			}
		}
		if (program_mode == 5){
			if(first_time_change){
				clear();
				init_snake();
				init_map();
				last_enter_game = HAL_GetTick();
				first_time_change = 0;
			}
			if (HAL_GetTick() - last_enter_game >= 600 / speed){
				move_snake();
				setCursor(19,0);
				char strhealth[1];
				sprintf(strhealth,"%d",health);
				print(strhealth);
				last_enter_game = HAL_GetTick();
			}
			if (apple_exist == 3){
				while (apple_exist == 3){
					int x = create_random_number(0, 3);
					int y = create_random_number(0, 19);
					if (map[x][y] == 0){
						map[x][y] = 3;
						setCursor(y, x);
						write(5);
						apple_exist = 1;
					}
				}
			}
			if (medical_exist == 3) {
				while (medical_exist == 3){
					int x = create_random_number(0, 3);
					int y = create_random_number(0, 19);
					if (map[x][y] == 0){
						map[x][y] = 4;
						setCursor(y, x);
						write(6);
						medical_exist = 1;
					}
				}
			}
			if (box_exist == 3){
				while (box_exist == 3){
					int x = create_random_number(0, 3);
					int y = create_random_number(0, 19);
					if (map[x][y] == 0){
						map[x][y] = 6;
						setCursor(y, x);
						write(7);
						box_exist = 1;
					}
				}
			}
		}
		if (program_mode == 6){
			if (first_time_change == 1){
				clear();
				first_time_change = 0;
			}
			setCursor(1, 0);
			print("GAME OVER!");
			setCursor(1, 1);
			char strres[10];
			sprintf(strres,"SCORE: %d",score);
			print(strres);
			setCursor(1, 2);
			char strres2[19];
			sprintf(strres2,"%Name : %s",name);
			print(strres2);
		}
  }
  /* USER CODE END 3 */
}

void SystemClock_Config(void)
{
  RCC_OscInitTypeDef RCC_OscInitStruct = {0};
  RCC_ClkInitTypeDef RCC_ClkInitStruct = {0};
  RCC_PeriphCLKInitTypeDef PeriphClkInit = {0};

  /** Initializes the RCC Oscillators according to the specified parameters
  * in the RCC_OscInitTypeDef structure.
  */
  RCC_OscInitStruct.OscillatorType = RCC_OSCILLATORTYPE_HSI|RCC_OSCILLATORTYPE_LSI
                              |RCC_OSCILLATORTYPE_HSE;
  RCC_OscInitStruct.HSEState = RCC_HSE_BYPASS;
  RCC_OscInitStruct.HSEPredivValue = RCC_HSE_PREDIV_DIV1;
  RCC_OscInitStruct.HSIState = RCC_HSI_ON;
  RCC_OscInitStruct.HSICalibrationValue = RCC_HSICALIBRATION_DEFAULT;
  RCC_OscInitStruct.LSIState = RCC_LSI_ON;
  RCC_OscInitStruct.PLL.PLLState = RCC_PLL_ON;
  RCC_OscInitStruct.PLL.PLLSource = RCC_PLLSOURCE_HSE;
  RCC_OscInitStruct.PLL.PLLMUL = RCC_PLL_MUL9;
  if (HAL_RCC_OscConfig(&RCC_OscInitStruct) != HAL_OK)
  {
    Error_Handler();
  }

  /** Initializes the CPU, AHB and APB buses clocks
  */
  RCC_ClkInitStruct.ClockType = RCC_CLOCKTYPE_HCLK|RCC_CLOCKTYPE_SYSCLK
                              |RCC_CLOCKTYPE_PCLK1|RCC_CLOCKTYPE_PCLK2;
  RCC_ClkInitStruct.SYSCLKSource = RCC_SYSCLKSOURCE_PLLCLK;
  RCC_ClkInitStruct.AHBCLKDivider = RCC_SYSCLK_DIV1;
  RCC_ClkInitStruct.APB1CLKDivider = RCC_HCLK_DIV2;
  RCC_ClkInitStruct.APB2CLKDivider = RCC_HCLK_DIV1;

  if (HAL_RCC_ClockConfig(&RCC_ClkInitStruct, FLASH_LATENCY_2) != HAL_OK)
  {
    Error_Handler();
  }
  PeriphClkInit.PeriphClockSelection = RCC_PERIPHCLK_USB|RCC_PERIPHCLK_USART1
                              |RCC_PERIPHCLK_I2C1|RCC_PERIPHCLK_RTC;
  PeriphClkInit.Usart1ClockSelection = RCC_USART1CLKSOURCE_PCLK2;
  PeriphClkInit.I2c1ClockSelection = RCC_I2C1CLKSOURCE_HSI;
  PeriphClkInit.RTCClockSelection = RCC_RTCCLKSOURCE_LSI;
  PeriphClkInit.USBClockSelection = RCC_USBCLKSOURCE_PLL_DIV1_5;
  if (HAL_RCCEx_PeriphCLKConfig(&PeriphClkInit) != HAL_OK)
  {
    Error_Handler();
  }
}

static void MX_I2C1_Init(void)
{

  hi2c1.Instance = I2C1;
  hi2c1.Init.Timing = 0x2000090E;
  hi2c1.Init.OwnAddress1 = 0;
  hi2c1.Init.AddressingMode = I2C_ADDRESSINGMODE_7BIT;
  hi2c1.Init.DualAddressMode = I2C_DUALADDRESS_DISABLE;
  hi2c1.Init.OwnAddress2 = 0;
  hi2c1.Init.OwnAddress2Masks = I2C_OA2_NOMASK;
  hi2c1.Init.GeneralCallMode = I2C_GENERALCALL_DISABLE;
  hi2c1.Init.NoStretchMode = I2C_NOSTRETCH_DISABLE;
  if (HAL_I2C_Init(&hi2c1) != HAL_OK)
  {
    Error_Handler();
  }

  /** Configure Analogue filter
  */
  if (HAL_I2CEx_ConfigAnalogFilter(&hi2c1, I2C_ANALOGFILTER_ENABLE) != HAL_OK)
  {
    Error_Handler();
  }

  /** Configure Digital filter
  */
  if (HAL_I2CEx_ConfigDigitalFilter(&hi2c1, 0) != HAL_OK)
  {
    Error_Handler();
  }

}

static void MX_RTC_Init(void)
{

  /** Initialize RTC Only
  */
  hrtc.Instance = RTC;
  hrtc.Init.HourFormat = RTC_HOURFORMAT_24;
  hrtc.Init.AsynchPrediv = 127;
  hrtc.Init.SynchPrediv = 255;
  hrtc.Init.OutPut = RTC_OUTPUT_DISABLE;
  hrtc.Init.OutPutPolarity = RTC_OUTPUT_POLARITY_HIGH;
  hrtc.Init.OutPutType = RTC_OUTPUT_TYPE_OPENDRAIN;
  if (HAL_RTC_Init(&hrtc) != HAL_OK)
  {
    Error_Handler();
  }

}

static void MX_SPI1_Init(void)
{

  /* SPI1 parameter configuration*/
  hspi1.Instance = SPI1;
  hspi1.Init.Mode = SPI_MODE_MASTER;
  hspi1.Init.Direction = SPI_DIRECTION_2LINES;
  hspi1.Init.DataSize = SPI_DATASIZE_4BIT;
  hspi1.Init.CLKPolarity = SPI_POLARITY_LOW;
  hspi1.Init.CLKPhase = SPI_PHASE_1EDGE;
  hspi1.Init.NSS = SPI_NSS_SOFT;
  hspi1.Init.BaudRatePrescaler = SPI_BAUDRATEPRESCALER_4;
  hspi1.Init.FirstBit = SPI_FIRSTBIT_MSB;
  hspi1.Init.TIMode = SPI_TIMODE_DISABLE;
  hspi1.Init.CRCCalculation = SPI_CRCCALCULATION_DISABLE;
  hspi1.Init.CRCPolynomial = 7;
  hspi1.Init.CRCLength = SPI_CRC_LENGTH_DATASIZE;
  hspi1.Init.NSSPMode = SPI_NSS_PULSE_ENABLE;
  if (HAL_SPI_Init(&hspi1) != HAL_OK)
  {
    Error_Handler();
  }

}

static void MX_TIM2_Init(void)
{

  TIM_ClockConfigTypeDef sClockSourceConfig = {0};
  TIM_MasterConfigTypeDef sMasterConfig = {0};
  TIM_OC_InitTypeDef sConfigOC = {0};

  htim2.Instance = TIM2;
  htim2.Init.Prescaler = 0;
  htim2.Init.CounterMode = TIM_COUNTERMODE_UP;
  htim2.Init.Period = 4294967295;
  htim2.Init.ClockDivision = TIM_CLOCKDIVISION_DIV1;
  htim2.Init.AutoReloadPreload = TIM_AUTORELOAD_PRELOAD_DISABLE;
  if (HAL_TIM_Base_Init(&htim2) != HAL_OK)
  {
    Error_Handler();
  }
  sClockSourceConfig.ClockSource = TIM_CLOCKSOURCE_INTERNAL;
  if (HAL_TIM_ConfigClockSource(&htim2, &sClockSourceConfig) != HAL_OK)
  {
    Error_Handler();
  }
  if (HAL_TIM_PWM_Init(&htim2) != HAL_OK)
  {
    Error_Handler();
  }
  sMasterConfig.MasterOutputTrigger = TIM_TRGO_RESET;
  sMasterConfig.MasterSlaveMode = TIM_MASTERSLAVEMODE_DISABLE;
  if (HAL_TIMEx_MasterConfigSynchronization(&htim2, &sMasterConfig) != HAL_OK)
  {
    Error_Handler();
  }
  sConfigOC.OCMode = TIM_OCMODE_PWM1;
  sConfigOC.Pulse = 0;
  sConfigOC.OCPolarity = TIM_OCPOLARITY_HIGH;
  sConfigOC.OCFastMode = TIM_OCFAST_DISABLE;
  if (HAL_TIM_PWM_ConfigChannel(&htim2, &sConfigOC, TIM_CHANNEL_2) != HAL_OK)
  {
    Error_Handler();
  }
  HAL_TIM_MspPostInit(&htim2);

}

static void MX_TIM6_Init(void)
{

  TIM_MasterConfigTypeDef sMasterConfig = {0};

  htim6.Instance = TIM6;
  htim6.Init.Prescaler = 48-1;
  htim6.Init.CounterMode = TIM_COUNTERMODE_UP;
  htim6.Init.Period = 5000-1;
  htim6.Init.AutoReloadPreload = TIM_AUTORELOAD_PRELOAD_DISABLE;
  if (HAL_TIM_Base_Init(&htim6) != HAL_OK)
  {
    Error_Handler();
  }
  sMasterConfig.MasterOutputTrigger = TIM_TRGO_RESET;
  sMasterConfig.MasterSlaveMode = TIM_MASTERSLAVEMODE_DISABLE;
  if (HAL_TIMEx_MasterConfigSynchronization(&htim6, &sMasterConfig) != HAL_OK)
  {
    Error_Handler();
  }

}

static void MX_TIM7_Init(void)
{

  TIM_MasterConfigTypeDef sMasterConfig = {0};

  htim7.Instance = TIM7;
  htim7.Init.Prescaler = 72-1;
  htim7.Init.CounterMode = TIM_COUNTERMODE_UP;
  htim7.Init.Period = 10000-1;
  htim7.Init.AutoReloadPreload = TIM_AUTORELOAD_PRELOAD_DISABLE;
  if (HAL_TIM_Base_Init(&htim7) != HAL_OK)
  {
    Error_Handler();
  }
  sMasterConfig.MasterOutputTrigger = TIM_TRGO_RESET;
  sMasterConfig.MasterSlaveMode = TIM_MASTERSLAVEMODE_DISABLE;
  if (HAL_TIMEx_MasterConfigSynchronization(&htim7, &sMasterConfig) != HAL_OK)
  {
    Error_Handler();
  }

}

static void MX_USART1_UART_Init(void)
{

  huart1.Instance = USART1;
  huart1.Init.BaudRate = 9600;
  huart1.Init.WordLength = UART_WORDLENGTH_8B;
  huart1.Init.StopBits = UART_STOPBITS_1;
  huart1.Init.Parity = UART_PARITY_NONE;
  huart1.Init.Mode = UART_MODE_TX_RX;
  huart1.Init.HwFlowCtl = UART_HWCONTROL_NONE;
  huart1.Init.OverSampling = UART_OVERSAMPLING_16;
  huart1.Init.OneBitSampling = UART_ONE_BIT_SAMPLE_DISABLE;
  huart1.AdvancedInit.AdvFeatureInit = UART_ADVFEATURE_NO_INIT;
  if (HAL_UART_Init(&huart1) != HAL_OK)
  {
    Error_Handler();
  }

}

static void MX_USB_PCD_Init(void)
{

  hpcd_USB_FS.Instance = USB;
  hpcd_USB_FS.Init.dev_endpoints = 8;
  hpcd_USB_FS.Init.speed = PCD_SPEED_FULL;
  hpcd_USB_FS.Init.phy_itface = PCD_PHY_EMBEDDED;
  hpcd_USB_FS.Init.low_power_enable = DISABLE;
  hpcd_USB_FS.Init.battery_charging_enable = DISABLE;
  if (HAL_PCD_Init(&hpcd_USB_FS) != HAL_OK)
  {
    Error_Handler();
  }

}

static void MX_GPIO_Init(void)
{
  GPIO_InitTypeDef GPIO_InitStruct = {0};

  /* GPIO Ports Clock Enable */
  __HAL_RCC_GPIOE_CLK_ENABLE();
  __HAL_RCC_GPIOC_CLK_ENABLE();
  __HAL_RCC_GPIOF_CLK_ENABLE();
  __HAL_RCC_GPIOA_CLK_ENABLE();
  __HAL_RCC_GPIOB_CLK_ENABLE();
  __HAL_RCC_GPIOD_CLK_ENABLE();

  /*Configure GPIO pin Output Level */
  HAL_GPIO_WritePin(GPIOE, CS_I2C_SPI_Pin|LD4_Pin|LD3_Pin|LD5_Pin
                          |LD7_Pin|LD9_Pin|LD10_Pin|LD8_Pin
                          |LD6_Pin, GPIO_PIN_RESET);

  /*Configure GPIO pin Output Level */
  HAL_GPIO_WritePin(GPIOC, GPIO_PIN_0|GPIO_PIN_1|GPIO_PIN_2|GPIO_PIN_3, GPIO_PIN_RESET);

  /*Configure GPIO pin Output Level */
  HAL_GPIO_WritePin(GPIOF, GPIO_PIN_2, GPIO_PIN_RESET);

  /*Configure GPIO pin Output Level */
  HAL_GPIO_WritePin(GPIOB, GPIO_PIN_11|GPIO_PIN_12|GPIO_PIN_13|GPIO_PIN_14, GPIO_PIN_RESET);

  /*Configure GPIO pin Output Level */
  HAL_GPIO_WritePin(GPIOD, GPIO_PIN_4|GPIO_PIN_5|GPIO_PIN_6|GPIO_PIN_7, GPIO_PIN_RESET);

  /*Configure GPIO pins : CS_I2C_SPI_Pin LD4_Pin LD3_Pin LD5_Pin
                           LD7_Pin LD9_Pin LD10_Pin LD8_Pin
                           LD6_Pin */
  GPIO_InitStruct.Pin = CS_I2C_SPI_Pin|LD4_Pin|LD3_Pin|LD5_Pin
                          |LD7_Pin|LD9_Pin|LD10_Pin|LD8_Pin
                          |LD6_Pin;
  GPIO_InitStruct.Mode = GPIO_MODE_OUTPUT_PP;
  GPIO_InitStruct.Pull = GPIO_NOPULL;
  GPIO_InitStruct.Speed = GPIO_SPEED_FREQ_LOW;
  HAL_GPIO_Init(GPIOE, &GPIO_InitStruct);

  /*Configure GPIO pins : MEMS_INT3_Pin MEMS_INT4_Pin */
  GPIO_InitStruct.Pin = MEMS_INT3_Pin|MEMS_INT4_Pin;
  GPIO_InitStruct.Mode = GPIO_MODE_EVT_RISING;
  GPIO_InitStruct.Pull = GPIO_NOPULL;
  HAL_GPIO_Init(GPIOE, &GPIO_InitStruct);

  /*Configure GPIO pins : PC0 PC1 PC2 PC3 */
  GPIO_InitStruct.Pin = GPIO_PIN_0|GPIO_PIN_1|GPIO_PIN_2|GPIO_PIN_3;
  GPIO_InitStruct.Mode = GPIO_MODE_OUTPUT_PP;
  GPIO_InitStruct.Pull = GPIO_NOPULL;
  GPIO_InitStruct.Speed = GPIO_SPEED_FREQ_LOW;
  HAL_GPIO_Init(GPIOC, &GPIO_InitStruct);

  /*Configure GPIO pin : PF2 */
  GPIO_InitStruct.Pin = GPIO_PIN_2;
  GPIO_InitStruct.Mode = GPIO_MODE_OUTPUT_PP;
  GPIO_InitStruct.Pull = GPIO_NOPULL;
  GPIO_InitStruct.Speed = GPIO_SPEED_FREQ_LOW;
  HAL_GPIO_Init(GPIOF, &GPIO_InitStruct);

  /*Configure GPIO pin : B1_Pin */
  GPIO_InitStruct.Pin = B1_Pin;
  GPIO_InitStruct.Mode = GPIO_MODE_INPUT;
  GPIO_InitStruct.Pull = GPIO_NOPULL;
  HAL_GPIO_Init(B1_GPIO_Port, &GPIO_InitStruct);

  /*Configure GPIO pins : PB11 PB12 PB13 PB14 */
  GPIO_InitStruct.Pin = GPIO_PIN_11|GPIO_PIN_12|GPIO_PIN_13|GPIO_PIN_14;
  GPIO_InitStruct.Mode = GPIO_MODE_OUTPUT_PP;
  GPIO_InitStruct.Pull = GPIO_NOPULL;
  GPIO_InitStruct.Speed = GPIO_SPEED_FREQ_LOW;
  HAL_GPIO_Init(GPIOB, &GPIO_InitStruct);

  /*Configure GPIO pins : PD0 PD1 PD2 PD3 */
  GPIO_InitStruct.Pin = GPIO_PIN_0|GPIO_PIN_1|GPIO_PIN_2|GPIO_PIN_3;
  GPIO_InitStruct.Mode = GPIO_MODE_IT_RISING;
  GPIO_InitStruct.Pull = GPIO_PULLDOWN;
  HAL_GPIO_Init(GPIOD, &GPIO_InitStruct);

  /*Configure GPIO pins : PD4 PD5 PD6 PD7 */
  GPIO_InitStruct.Pin = GPIO_PIN_4|GPIO_PIN_5|GPIO_PIN_6|GPIO_PIN_7;
  GPIO_InitStruct.Mode = GPIO_MODE_OUTPUT_PP;
  GPIO_InitStruct.Pull = GPIO_NOPULL;
  GPIO_InitStruct.Speed = GPIO_SPEED_FREQ_LOW;
  HAL_GPIO_Init(GPIOD, &GPIO_InitStruct);

  /* EXTI interrupt init*/
  HAL_NVIC_SetPriority(EXTI0_IRQn, 2, 0);
  HAL_NVIC_EnableIRQ(EXTI0_IRQn);

  HAL_NVIC_SetPriority(EXTI1_IRQn, 2, 0);
  HAL_NVIC_EnableIRQ(EXTI1_IRQn);

  HAL_NVIC_SetPriority(EXTI2_TSC_IRQn, 2, 0);
  HAL_NVIC_EnableIRQ(EXTI2_TSC_IRQn);

  HAL_NVIC_SetPriority(EXTI3_IRQn, 2, 0);
  HAL_NVIC_EnableIRQ(EXTI3_IRQn);

}

void Error_Handler(void)
{
  __disable_irq();
  while (1)
  {
  }
}
